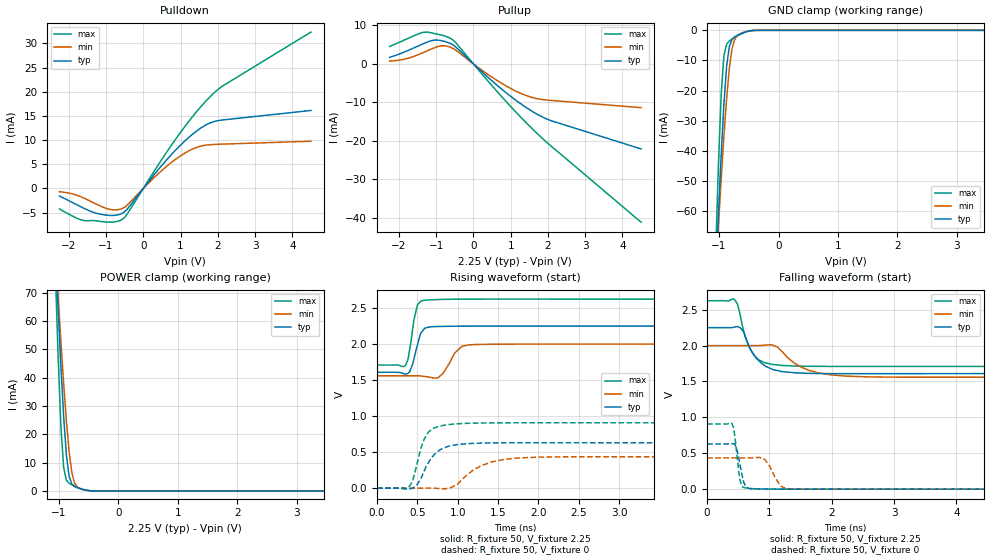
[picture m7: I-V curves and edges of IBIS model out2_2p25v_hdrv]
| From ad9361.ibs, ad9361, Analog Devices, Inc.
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|   Model: output1_2p25v_fdrv
[Model]   out2_2p25v_hdrv
Model_type  3-state
Vref=0
Vmeas=1.125
Rref=1G
Cref=3pF
|variable   typ   min   max
C_comp_pullup   6.846091E-14 4.994011E-14 2.537344E-13
C_comp_pulldown   9.932289E-14 9.034195E-14 1.727329E-13
[C Comp Corner]
C_comp_pullup   6.846091E-14 4.994011E-14 2.537344E-13
C_comp_pulldown   9.932289E-14 9.034195E-14 1.727329E-13
[Temperature Range]   25   85   -40
[Voltage Range]   2.25   2   2.625
[Power Clamp Reference]  2.25   2   2.625
[GND Clamp Reference]   0   0   0
[Pullup Reference]   2.25   2   2.625
[Pulldown Reference]   0   0   0
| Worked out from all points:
|   slope of the pulldown table from 0 to 0.337 V, typ, clamps not added: 103 ohm
|   slope of the pullup table from 0 to 0.337 V, typ, clamps not added: 111 ohm
|   GND clamp passes 1 mA (typ) near -0.62 V on its own axis
|   POWER clamp passes 1 mA (typ) near -0.67 V on its own axis
|   rising waveform, R_fixture 50, V_fixture 2.25: 20-80 % time 88.2ps typ, 148ps min, 79.8ps max; typ from 1.61 V to 2.25 V
|   falling waveform, R_fixture 50, V_fixture 2.25: 20-80 % time 284ps typ, 457ps min, 207ps max; typ from 2.25 V to 1.61 V
|   rising waveform, R_fixture 50, V_fixture 0: 20-80 % time 202ps typ, 355ps min, 149ps max; typ from 0 V to 0.629 V
|   falling waveform, R_fixture 50, V_fixture 0: 20-80 % time 88.6ps typ, 166ps min, 69.6ps max; typ from 0.629 V to 0 V
[Power clamp]
| Voltage   I(typ)   I(min)   I(max)
-2.25V    724.8mA    552.8mA    1.029A
-1.056V   85.22mA    84.31mA    76.21mA
-1.01V    63.87mA    68.14mA    46.81mA
-964.3mV  43.91mA    52.59mA    22.58mA
-918.4mV  26.29mA    37.96mA    8.232mA
-872.4mV  12.74mA    24.76mA    3.764mA
-826.5mV  5.154mA    13.87mA    2.683mA
-780.6mV  2.422mA    6.432mA    2.159mA
-734.7mV  1.55mA     2.726mA    1.717mA
-642.9mV  800uA      772.2uA    924.6uA
-413.3mV  17.51uA    21.54uA    13.88uA
4.5V      -464.6pA   -5.157nA   -72.76pA
[GND Clamp]
| Voltage   I(typ)   I(min)   I(max)
-2.25V    -719.6mA   -548mA     -1.023A
-1.056V   -82.09mA   -80.71mA   -73.35mA
-1.01V    -61.01mA   -64.75mA   -44.48mA
-964.3mV  -41.45mA   -49.48mA   -21.31mA
-918.4mV  -24.46mA   -35.24mA   -8.43mA
-872.4mV  -11.91mA   -22.59mA   -4.569mA
-826.5mV  -5.331mA   -12.5mA    -3.5mA
-780.6mV  -2.988mA   -5.99mA    -2.883mA
-734.7mV  -2.126mA   -2.909mA   -2.337mA
-642.9mV  -1.198mA   -1.119mA   -1.341mA
-367.3mV  -9.539uA   -13.13uA   -5.263uA
4.5V      372pA      1.632nA    55.06pA
[Pullup]
| Voltage   I(typ)   I(min)   I(max)
-2.25V    1.71mA     704.3uA    4.54mA
-1.791V   3.338mA    1.361mA    6.471mA
-1.286V   5.477mA    3.21mA     8.266mA
-1.056V   6.163mA    4.149mA    7.897mA
-872.4mV  6.058mA    4.675mA    7.523mA
-734.7mV  5.722mA    4.648mA    7.129mA
-551mV    4.952mA    4.024mA    6.218mA
642.9mV   -5.62mA    -4.364mA   -7.259mA
1.102V    -9.188mA   -6.898mA   -12.14mA
1.515V    -11.96mA   -8.554mA   -16.26mA
2.112V    -14.87mA   -9.53mA    -21.6mA
4.5V      -22.12mA   -11.38mA   -41.16mA
[Pulldown]
| Voltage   I(typ)   I(min)   I(max)
-2.25V    -1.575mA   -673.9uA   -4.242mA
-1.607V   -4.051mA   -1.948mA   -6.618mA
-1.286V   -5.075mA   -3.139mA   -6.684mA
-918.4mV  -5.573mA   -4.297mA   -6.982mA
-551mV    -5.086mA   -4.099mA   -6.315mA
-413.3mV  -4.115mA   -3.323mA   -5.067mA
321.4mV   3.135mA    2.464mA    3.921mA
826.5mV   7.596mA    5.793mA    9.726mA
1.286V    10.98mA    8.012mA    14.5mA
1.699V    13.2mA     8.971mA    18.22mA
2.158V    14.19mA    9.177mA    21.35mA
4.5V      16.13mA    9.761mA    32.34mA
[Rising Waveform]
R_fixture = 50
V_fixture = 2.25
V_fixture_min = 2
V_fixture_max = 2.625
| time   V(typ)   V(min)   V(max)
0s        1.61V      1.56V      1.71V
354.5ps   1.585V     1.56V      1.704V
405.1ps   1.616V     1.56V      1.928V
456.3ps   1.79V      1.561V     2.329V
500.3ps   1.986V     1.561V     2.541V
581.4ps   2.206V     1.552V     2.608V
757.2ps   2.244V     1.534V     2.619V
961.7ps   2.248V     1.874V     2.623V
1.134ns   2.25V      1.989V     2.625V
4.085ns   2.25V      2V         2.625V
[Falling Waveform]
R_fixture = 50
V_fixture = 2.25
V_fixture_min = 2
V_fixture_max = 2.625
| time   V(typ)   V(min)   V(max)
0s        2.25V      2V         2.625V
449.6ps   2.26V      2V         2.63V
485.5ps   2.265V     2V         2.579V
590.8ps   2.181V     2V         2.189V
705.2ps   1.933V     2V         1.93V
827.1ps   1.791V     1.999V     1.803V
1.036ns   1.673V     2.009V     1.739V
1.515ns   1.617V     1.698V     1.713V
1.965ns   1.61V      1.594V     1.71V
6.368ns   1.61V      1.56V      1.71V
[Rising Waveform]
R_fixture = 50
V_fixture = 0
V_fixture_min = 0
V_fixture_max = 0
| time   V(typ)   V(min)   V(max)
0s        5.914nV    14.18nV    2.682nV
400.7ps   -9.784mV   -195.8nV   23.75mV
439.7ps   -1.683mV   -6.744uV   93.48mV
489ps     36.24mV    -15.01uV   304.9mV
585.6ps   240.2mV    417.3uV    684mV
671.5ps   418.4mV    1.504mV    808.7mV
853.3ps   568.9mV    -6.592mV   878.1mV
1.292ns   625.1mV    312.1mV    904.8mV
1.748ns   630.3mV    419.1mV    907.5mV
5.945ns   629.3mV    435mV      907.8mV
[Falling Waveform]
R_fixture = 50
V_fixture = 0
V_fixture_min = 0
V_fixture_max = 0
| time   V(typ)   V(min)   V(max)
0s        629.3mV    435mV      907.8mV
396.5ps   634.1mV    435mV      915.2mV
445.6ps   618.2mV    435mV      734.9mV
520.6ps   371.7mV    435mV      148.8mV
556.4ps   213.3mV    435mV      39.97mV
612.8ps   53.2mV     435.3mV    18.74mV
923.3ps   1.722mV    414.7mV    1.904mV
1.177ns   403.8uV    44.48mV    317uV
1.259ns   253.4uV    10.62mV    139.6uV
5.935ns   2.758uV    1.687uV    3.039uV
[Ramp]
| variable   typ   min   max
dV/dt_r  0.377569/2.02E-10   0.260976/3.55E-10   0.544681/1.49E-10
dV/dt_f  0.384145/2.84E-10   0.263649/4.57E-10   0.549274/2.07E-10
R_load = 50
|   End of [Model]: output1_5v
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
